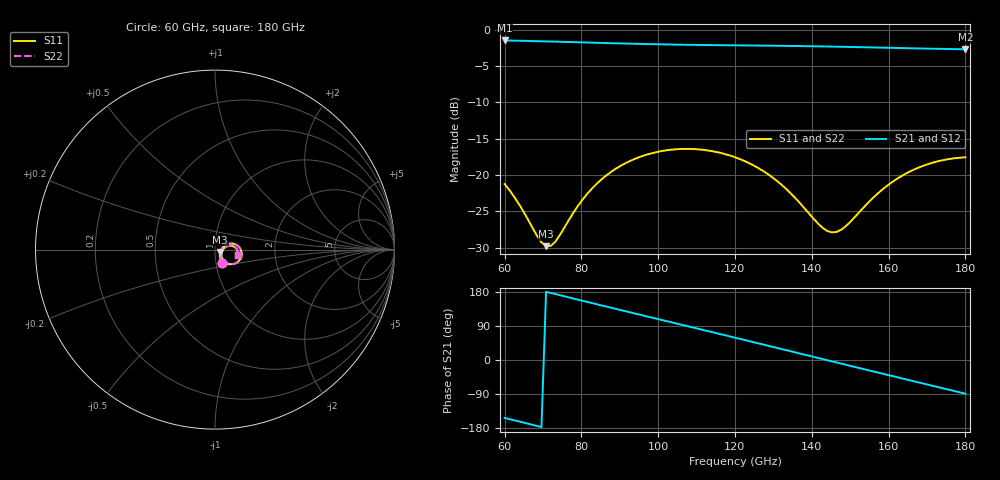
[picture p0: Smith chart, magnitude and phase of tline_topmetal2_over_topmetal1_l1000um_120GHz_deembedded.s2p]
! Created with skrf 2.2.0 (http://scikit-rf.org).
# GHz S DB R 50.0
! Port[1] = P1
! Port[2] = P2
!freq dBS11 angS11 dBS21 angS21 dBS12 angS12 dBS22 angS22
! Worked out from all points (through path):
!   101 points, 60 GHz to 180 GHz, reference 50 ohm
!   highest |S21| = -1.46 dB at 60 GHz (marker M1); lowest = -2.7 dB at 180 GHz (marker M2)
!   group delay of S21, straight-line fit = 6.85 ps
!   lowest |S11| = -29.8 dB at 70.8 GHz (marker M3), VSWR 1.07, Z = 53 - j1.42 ohm
!   |S11| at or under -10 dB: start of sweep to end of sweep
!   |S22| runs from -29.9 to -16.4 dB; largest |S21 - S12| = 9e-14
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60  -21.23 -62.2  -1.46 -152.8  -1.46 -152.8  -21.24 -62.3
66  -26.04 -57.0  -1.52 -167.9  -1.52 -167.9  -26.07 -57.2
68.4  -28.33 -45.4  -1.55 -174.0  -1.55 -174.0  -28.37 -45.6
70.8  -29.80 -24.4  -1.59 180.0  -1.59 180.0  -29.86 -24.4
73.2  -29.19 -0.8  -1.62 174.0  -1.62 174.0  -29.25 -0.7
80.4  -23.32 23.5  -1.73 156.0  -1.73 156.0  -23.33 23.6
85.2  -20.61 21.2  -1.80 144.2  -1.80 144.2  -20.62 21.3
90  -18.79 15.2  -1.86 132.3  -1.86 132.3  -18.80 15.3
96  -17.36 5.6  -1.94 117.6  -1.94 117.6  -17.37 5.6
100.8  -16.71 -2.8  -1.99 105.9  -1.99 105.9  -16.71 -2.8
105.6  -16.42 -11.5  -2.04 94.2  -2.04 94.2  -16.42 -11.4
110.4  -16.46 -20.1  -2.07 82.5  -2.07 82.5  -16.47 -20.1
120  -17.55 -36.7  -2.13 58.9  -2.13 58.9  -17.56 -36.7
130.8  -20.75 -50.6  -2.19 32.3  -2.19 32.3  -20.77 -50.5
135.6  -23.11 -51.6  -2.22 20.4  -2.22 20.4  -23.13 -51.4
140.4  -25.98 -43.6  -2.26 8.4  -2.26 8.4  -26.00 -43.3
144  -27.69 -27.3  -2.29 -0.5  -2.29 -0.5  -27.69 -26.9
147.6  -27.55 -5.9  -2.33 -9.4  -2.33 -9.4  -27.54 -5.5
153.6  -24.41 13.5  -2.39 -24.3  -2.39 -24.3  -24.38 13.7
160.8  -21.01 13.9  -2.48 -42.0  -2.48 -42.0  -20.99 14.1
170.4  -18.47 2.3  -2.58 -65.5  -2.58 -65.5  -18.46 2.6
180  -17.56 -12.8  -2.67 -88.9  -2.67 -88.9  -17.55 -12.4
